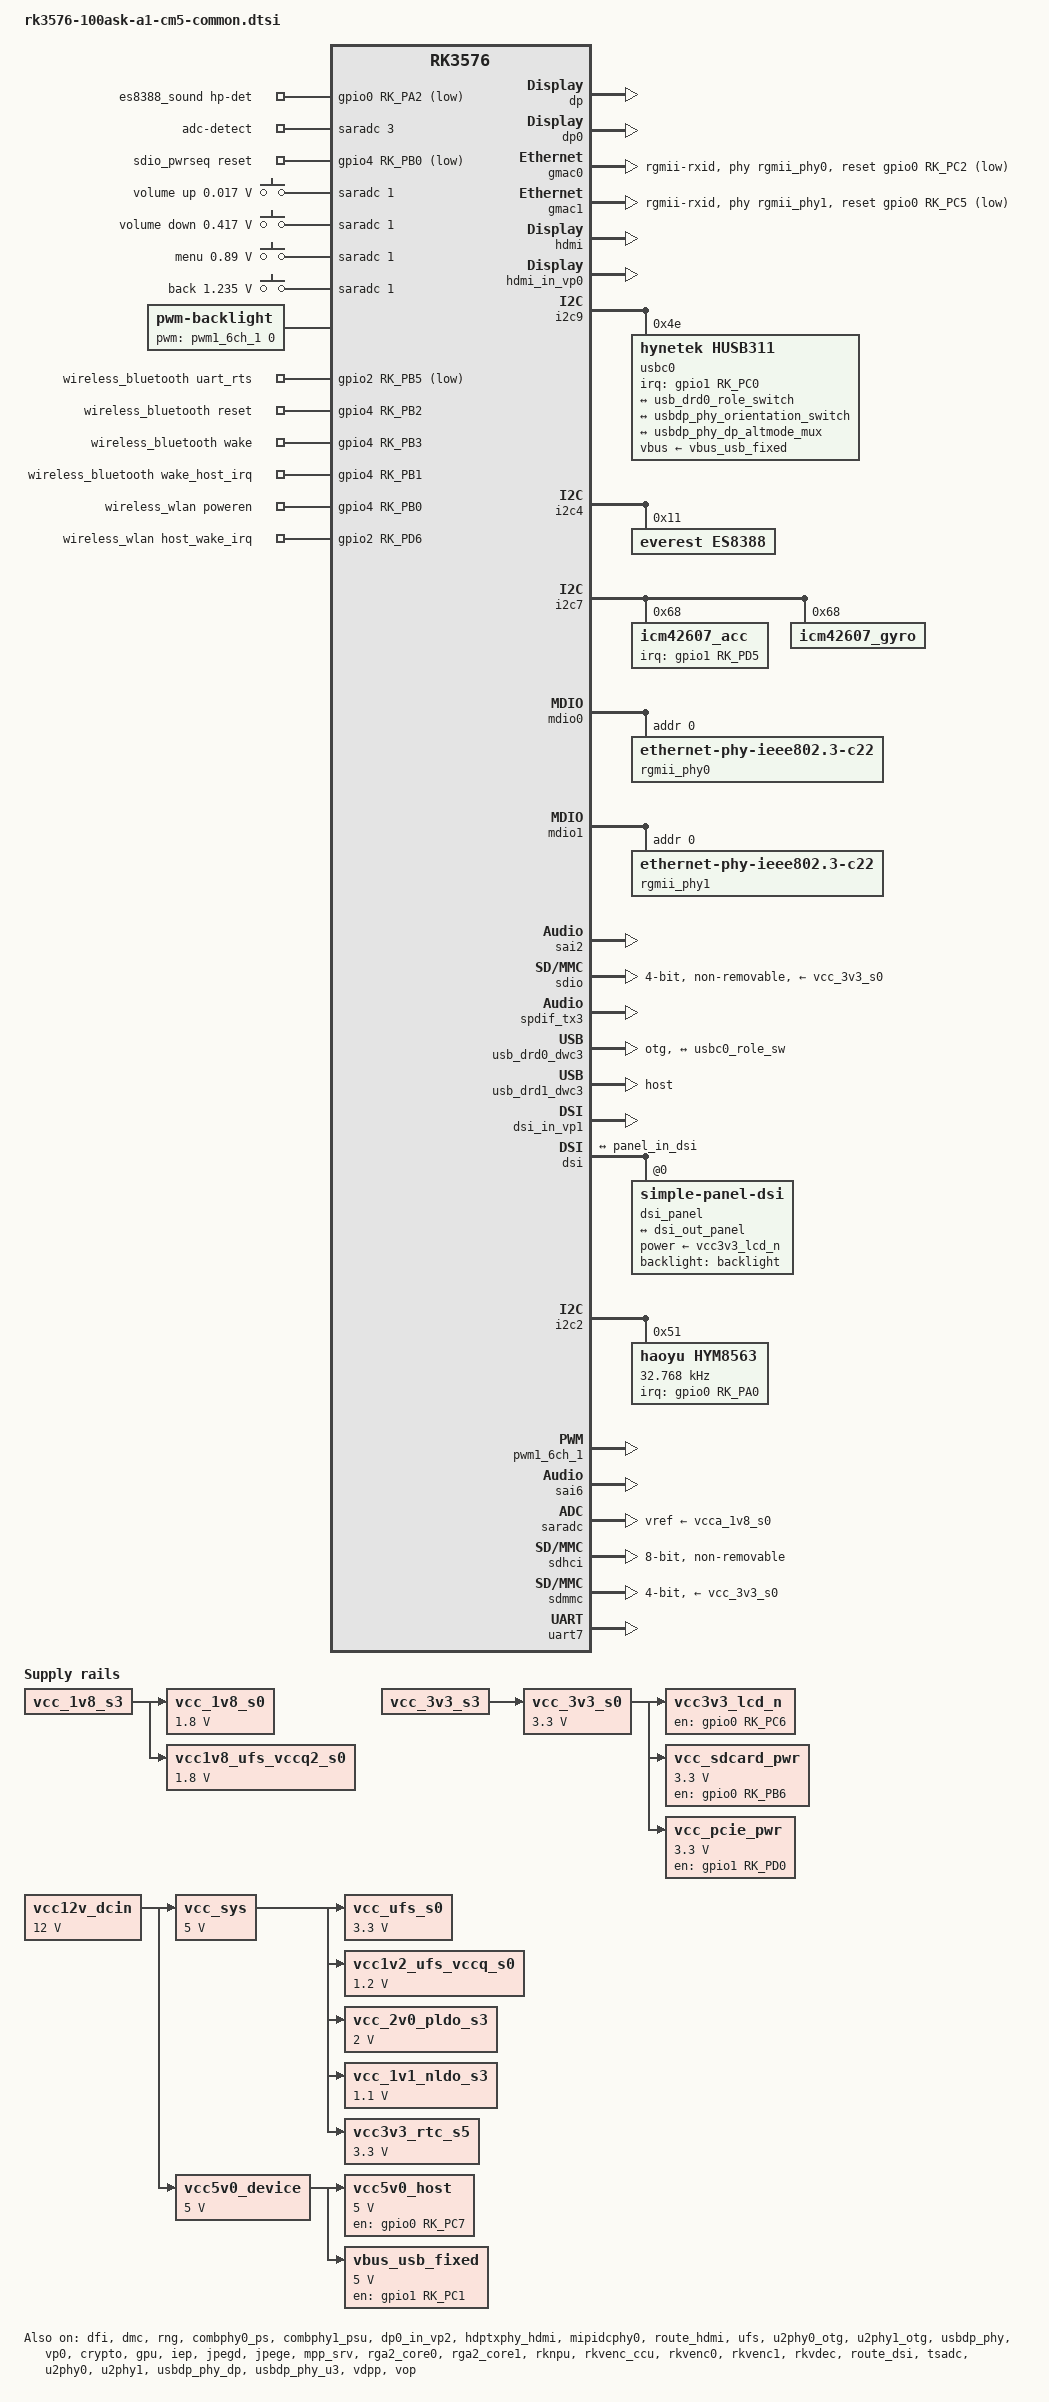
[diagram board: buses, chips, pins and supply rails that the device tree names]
// SPDX-License-Identifier: (GPL-2.0+ OR MIT)
/*
 * Copyright (c) 2024 Rockchip Electronics Co., Ltd.
 *
 */

#include <dt-bindings/gpio/gpio.h>
#include <dt-bindings/pwm/pwm.h>
#include <dt-bindings/pinctrl/rockchip.h>
#include <dt-bindings/input/rk-input.h>
#include <dt-bindings/display/drm_mipi_dsi.h>
#include <dt-bindings/display/rockchip_vop.h>
#include <dt-bindings/sensor-dev.h>
#include <dt-bindings/usb/pd.h>
#include "rk3576-rk806.dtsi"

/ {
	chosen: chosen {
		bootargs = "earlycon=uart8250,mmio32,0x2ad40000 console=ttyFIQ0 root=PARTUUID=614e0000-0000 rw rootwait rcupdate.rcu_expedited=1 rcu_nocbs=all";
	};

	fiq_debugger: fiq-debugger {
		compatible = "rockchip,fiq-debugger";
		rockchip,serial-id = <0>;
		rockchip,wake-irq = <0>;
		/* If enable uart uses irq instead of fiq */
		rockchip,irq-mode-enable = <1>;
		rockchip,baudrate = <1500000>;  /* Only 115200 and 1500000 */
		interrupts = <GIC_SPI 389 IRQ_TYPE_LEVEL_LOW>;
		pinctrl-names = "default";
		pinctrl-0 = <&uart0m0_xfer>;
		status = "okay";
	};

	firmware {
		optee: optee {
			compatible = "linaro,optee-tz";
			method = "smc";
		};
	};

	reserved-memory {
		#address-cells = <2>;
		#size-cells = <2>;
		ranges;

		drm_logo: drm-logo@0 {
			compatible = "rockchip,drm-logo";
			reg = <0x0 0x0 0x0 0x0>;
		};

		drm_cubic_lut: drm-cubic-lut@0 {
			compatible = "rockchip,drm-cubic-lut";
			reg = <0x0 0x0 0x0 0x0>;
		};

		ramoops: ramoops@40110000 {
			compatible = "ramoops";
			/* 0x40110000 to 0x401f0000 is for ramoops */
			reg = <0x0 0x40110000 0x0 0xe0000>;
			boot-log-size = <0x8000>;	/* do not change */
			boot-log-count = <0x1>;		/* do not change */
			console-size = <0x80000>;
			pmsg-size = <0x30000>;
			ftrace-size = <0x00000>;
			record-size = <0x14000>;
		};
	};

	es8388_sound: es8388-sound {
		status = "okay";
		compatible = "rockchip,multicodecs-card";
		rockchip,card-name = "rockchip-es8388";
		hp-det-gpio = <&gpio0 RK_PA2 GPIO_ACTIVE_LOW>;
		io-channels = <&saradc 3>;
		io-channel-names = "adc-detect";
		keyup-threshold-microvolt = <1800000>;
		poll-interval = <100>;
		rockchip,pre-power-on-delay-ms = <30>;
		rockchip,post-power-down-delay-ms = <40>;
		rockchip,format = "i2s";
		rockchip,mclk-fs = <256>;
		rockchip,cpu = <&sai2>;
		rockchip,codec = <&es8388>;
		rockchip,audio-routing =
			"Headphone", "LOUT1",
			"Headphone", "ROUT1",
			"Speaker", "LOUT2",
			"Speaker", "ROUT2",
			"Headphone", "Headphone Power",
			"Headphone", "Headphone Power",
			"Speaker", "Speaker Power",
			"Speaker", "Speaker Power",
			"LINPUT1", "Main Mic",
			"RINPUT1", "Main Mic",
			//"LINPUT1", "Headset Mic",
                        //"RINPUT1", "Headset Mic",
			//"LINPUT2", "Headset Mic",
			//"RINPUT2", "Headset Mic",
			"LINPUT2", "Main Mic",
                        "RINPUT2", "Main Mic";
		pinctrl-names = "default";
		pinctrl-0 = <&hp_det>;
		play-pause-key {
			label = "playpause";
			linux,code = <KEY_PLAYPAUSE>;
			press-threshold-microvolt = <2000>;
		};
	};

	pdmics: dummy-codec {
		status = "disabled";
		compatible = "rockchip,dummy-codec";
		#sound-dai-cells = <0>;
	};

	pdm_mic_array: pdm-mic-array {
		status = "disabled";
		compatible = "simple-audio-card";
		simple-audio-card,name = "rockchip,pdm-mic-array";
		simple-audio-card,cpu {
			sound-dai = <&pdm1>;
		};
		simple-audio-card,codec {
			sound-dai = <&pdmics>;
		};
	};

	sdio_pwrseq: sdio-pwrseq {
		compatible = "mmc-pwrseq-simple";
		clocks = <&rk806 1>;
		clock-names = "ext_clock";
		pinctrl-names = "default";
		pinctrl-0 = <&wifi_poweren_gpio>;

		/*
		 * On the module itself this is one of these (depending
		 * on the actual card populated):
		 * - SDIO_RESET_L_WL_REG_ON
		 * - PDN (power down when low)
		 */
		post-power-on-delay-ms = <200>;
		reset-gpios = <&gpio4 RK_PB0 GPIO_ACTIVE_LOW>;
		status = "okay";
	};

	vcc_1v8_s0: vcc-1v8-s0 {
		compatible = "regulator-fixed";
		regulator-name = "vcc_1v8_s0";
		regulator-boot-on;
		regulator-always-on;
		regulator-min-microvolt = <1800000>;
		regulator-max-microvolt = <1800000>;
		vin-supply = <&vcc_1v8_s3>;
	};

	vcc_3v3_s0: vcc-3v3-s0 {
		compatible = "regulator-fixed";
		regulator-name = "vcc_3v3_s0";
		regulator-boot-on;
		regulator-always-on;
		regulator-min-microvolt = <3300000>;
		regulator-max-microvolt = <3300000>;
		vin-supply = <&vcc_3v3_s3>;
	};

	vcc_ufs_s0: vcc-ufs-s0 {
		compatible = "regulator-fixed";
		regulator-name = "vcc_ufs_s0";
		regulator-boot-on;
		regulator-always-on;
		regulator-min-microvolt = <3300000>;
		regulator-max-microvolt = <3300000>;
		vin-supply = <&vcc_sys>;
	};

	vcc1v8_ufs_vccq2_s0: vcc1v8-ufs-vccq2-s0 {
		compatible = "regulator-fixed";
		regulator-name = "vcc1v8_ufs_vccq2_s0";
		regulator-boot-on;
		regulator-always-on;
		regulator-min-microvolt = <1800000>;
		regulator-max-microvolt = <1800000>;
		vin-supply = <&vcc_1v8_s3>;
	};

	vcc1v2_ufs_vccq_s0: vcc1v2-ufs-vccq-s0 {
		compatible = "regulator-fixed";
		regulator-name = "vcc1v2_ufs_vccq_s0";
		regulator-boot-on;
		regulator-always-on;
		regulator-min-microvolt = <1200000>;
		regulator-max-microvolt = <1200000>;
		vin-supply = <&vcc_sys>;
	};

	vcc3v3_lcd_n: vcc3v3-lcd0-n {
		compatible = "regulator-fixed";
		regulator-name = "vcc3v3_lcd0_n";
		regulator-boot-on;
		enable-active-high;
		gpio = <&gpio0 RK_PC6 GPIO_ACTIVE_HIGH>;
		vin-supply = <&vcc_3v3_s0>;
	};
	vcc_sdcard_pwr: vcc-sdcard-pwr {
		compatible = "regulator-fixed";
		regulator-name = "vcc_sdcard_pwr";
		enable-active-high;
		regulator-min-microvolt = <3300000>;
        regulator-max-microvolt = <3300000>;
		gpio = <&gpio0 RK_PB6 GPIO_ACTIVE_HIGH>;
		vin-supply = <&vcc_3v3_s0>;
		regulator-always-on;
	};
	vcc_pcie_pwr: vcc-pcie-pwr {
		compatible = "regulator-fixed";
		regulator-name = "vcc_pcie_pwr";
		enable-active-high;
		regulator-min-microvolt = <3300000>;
        regulator-max-microvolt = <3300000>;
		gpio = <&gpio1 RK_PD0 GPIO_ACTIVE_HIGH>;
		vin-supply = <&vcc_3v3_s0>;
		regulator-always-on;
	};

	vcc5v0_host: vcc5v0-host {
		compatible = "regulator-fixed";
		regulator-name = "vcc5v0_host";
		regulator-boot-on;
		regulator-always-on;
		regulator-min-microvolt = <5000000>;
		regulator-max-microvolt = <5000000>;
		enable-active-high;
		gpio = <&gpio0 RK_PC7 GPIO_ACTIVE_HIGH>;
		vin-supply = <&vcc5v0_device>;
		pinctrl-names = "default";
		pinctrl-0 = <&usb_host_pwren>;
	};
	/*
	vbus5v0_typec: vbus5v0-typec {
		compatible = "regulator-fixed";
		regulator-name = "vbus5v0_typec";
		regulator-min-microvolt = <5000000>;
		regulator-max-microvolt = <5000000>;
		enable-active-high;
		gpio = <&gpio1 RK_PC1 GPIO_ACTIVE_HIGH>;
		vin-supply = <&vcc5v0_device>;
		pinctrl-names = "default";
		pinctrl-0 = <&usb_otg0_pwren>;
	};
	*/
	vbus_usb_fixed: vbus-usb-fixed {
        compatible = "regulator-fixed";
        regulator-name = "vbus_usb_fixed";
        regulator-min-microvolt = <5000000>;
        regulator-max-microvolt = <5000000>;
        enable-active-high;
        gpio = <&gpio1 RK_PC1 GPIO_ACTIVE_HIGH>;
		vin-supply = <&vcc5v0_device>;
		pinctrl-names = "default";
		pinctrl-0 = <&usb_otg0_pwren>;
    };
/*
	vcc_mipicsi0: vcc-mipicsi0-regulator {
		compatible = "regulator-fixed";
		gpio = <&gpio3 RK_PB0 GPIO_ACTIVE_HIGH>;
		pinctrl-names = "default";
		pinctrl-0 = <&mipicsi0_pwr>;
		regulator-name = "vcc_mipicsi0";
		enable-active-high;
	};

	vcc_mipicsi1: vcc-mipicsi1-regulator {
		compatible = "regulator-fixed";
		gpio = <&gpio3 RK_PC5 GPIO_ACTIVE_HIGH>;
		pinctrl-names = "default";
		pinctrl-0 = <&mipicsi1_pwr>;
		regulator-name = "vcc_mipicsi1";
		enable-active-high;
	};

	vcc_mipidcphy0: vcc-mipidcphy0-regulator {
		compatible = "regulator-fixed";
		gpio = <&gpio3 RK_PC6 GPIO_ACTIVE_HIGH>;
		pinctrl-names = "default";
		pinctrl-0 = <&mipidcphy0_pwr>;
		regulator-name = "vcc_mipidcphy0";
		enable-active-high;
	};
*/
	adc_keys: adc-keys {
		compatible = "adc-keys";
		io-channels = <&saradc 1>;
		io-channel-names = "buttons";
		keyup-threshold-microvolt = <1800000>;
		poll-interval = <100>;

		vol-up-key {
			label = "volume up";
			linux,code = <KEY_VOLUMEUP>;
			press-threshold-microvolt = <17000>;
		};

		vol-down-key {
			label = "volume down";
			linux,code = <KEY_VOLUMEDOWN>;
			press-threshold-microvolt = <417000>;
		};

		menu-key {
			label = "menu";
			linux,code = <KEY_MENU>;
			press-threshold-microvolt = <890000>;
		};

		back-key {
			label = "back";
			linux,code = <KEY_BACK>;
			press-threshold-microvolt = <1235000>;
		};
	};

	backlight: backlight {
		compatible = "pwm-backlight";
		pwms = <&pwm1_6ch_1 0 25000 0>;
		brightness-levels = <
			  0  20  20  21  21  22  22  23
			 23  24  24  25  25  26  26  27
			 27  28  28  29  29  30  30  31
			 31  32  32  33  33  34  34  35
			 35  36  36  37  37  38  38  39
			 40  41  42  43  44  45  46  47
			 48  49  50  51  52  53  54  55
			 56  57  58  59  60  61  62  63
			 64  65  66  67  68  69  70  71
			 72  73  74  75  76  77  78  79
			 80  81  82  83  84  85  86  87
			 88  89  90  91  92  93  94  95
			 96  97  98  99 100 101 102 103
			104 105 106 107 108 109 110 111
			112 113 114 115 116 117 118 119
			120 121 122 123 124 125 126 127
			128 129 130 131 132 133 134 135
			136 137 138 139 140 141 142 143
			144 145 146 147 148 149 150 151
			152 153 154 155 156 157 158 159
			160 161 162 163 164 165 166 167
			168 169 170 171 172 173 174 175
			176 177 178 179 180 181 182 183
			184 185 186 187 188 189 190 191
			192 193 194 195 196 197 198 199
			200 201 202 203 204 205 206 207
			208 209 210 211 212 213 214 215
			216 217 218 219 220 221 222 223
			224 225 226 227 228 229 230 231
			232 233 234 235 236 237 238 239
			240 241 242 243 244 245 246 247
			248 249 250 251 252 253 254 255
		>;
		default-brightness-level = <200>;
	};

	dp0_sound: dp0-sound {
		status = "okay";
		compatible = "rockchip,hdmi";
		rockchip,mclk-fs = <512>;
		rockchip,card-name = "rockchip-dp0";
		rockchip,cpu = <&spdif_tx3>;
		rockchip,codec = <&dp0 1>;
		rockchip,jack-det;
	};

	dp1_sound: dp1-sound {
		status = "disabled";
		compatible = "rockchip,hdmi";
		rockchip,mclk-fs = <512>;
		rockchip,card-name = "rockchip-dp1";
		rockchip,cpu = <&spdif_tx3>;
		rockchip,codec = <&dp1 1>;
		rockchip,jack-det;
	};

	dp2_sound: dp2-sound {
		status = "disabled";
		compatible = "rockchip,hdmi";
		rockchip,mclk-fs = <512>;
		rockchip,card-name = "rockchip-dp2";
		rockchip,cpu = <&spdif_tx3>;
		rockchip,codec = <&dp2 1>;
		rockchip,jack-det;
	};

	edp_sound: edp-sound {
		status = "disabled";
		compatible = "rockchip,hdmi";
		rockchip,mclk-fs = <128>;
		rockchip,card-name = "rockchip-edp";
		rockchip,cpu = <&sai6>;
		rockchip,codec = <&edp 0>;
	};

	hdmi_sound: hdmi-sound {
		compatible = "rockchip,hdmi";
		rockchip,mclk-fs = <128>;
		rockchip,card-name = "rockchip-hdmi";
		rockchip,cpu = <&sai6>;
		rockchip,codec = <&hdmi>;
		rockchip,jack-det;
	};

	test-power {
		status = "okay";
	};

	vcc12v_dcin: vcc12v-dcin {
		compatible = "regulator-fixed";
		regulator-name = "vcc12v_dcin";
		regulator-always-on;
		regulator-boot-on;
		regulator-min-microvolt = <12000000>;
		regulator-max-microvolt = <12000000>;
	};

	vcc_sys: vcc5v0-sys {
		compatible = "regulator-fixed";
		regulator-name = "vcc_sys";
		regulator-always-on;
		regulator-boot-on;
		regulator-min-microvolt = <5000000>;
		regulator-max-microvolt = <5000000>;
		vin-supply = <&vcc12v_dcin>;
	};

	vcc5v0_device: vcc5v0-device {
		compatible = "regulator-fixed";
		regulator-name = "vcc5v0_device";
		regulator-always-on;
		regulator-boot-on;
		regulator-min-microvolt = <5000000>;
		regulator-max-microvolt = <5000000>;
		vin-supply = <&vcc12v_dcin>;
	};

	vcc_2v0_pldo_s3: vcc-2v0-pldo-s3 {
		compatible = "regulator-fixed";
		regulator-name = "vcc_2v0_pldo_s3";
		regulator-boot-on;
		regulator-always-on;
		regulator-min-microvolt = <2000000>;
		regulator-max-microvolt = <2000000>;
		vin-supply = <&vcc_sys>;
	};

	vcc_1v1_nldo_s3: vcc-1v1-nldo-s3 {
		compatible = "regulator-fixed";
		regulator-name = "vcc_1v1_nldo_s3";
		regulator-boot-on;
		regulator-always-on;
		regulator-min-microvolt = <1100000>;
		regulator-max-microvolt = <1100000>;
		vin-supply = <&vcc_sys>;
	};

	vcc3v3_rtc_s5: vcc3v3-rtc-s5 {
		compatible = "regulator-fixed";
		regulator-name = "vcc3v3_rtc_s5";
		regulator-boot-on;
		regulator-always-on;
		regulator-min-microvolt = <3300000>;
		regulator-max-microvolt = <3300000>;
		vin-supply = <&vcc_sys>;
	};

	wireless_bluetooth: wireless-bluetooth {
		compatible = "bluetooth-platdata";
		uart_rts_gpios = <&gpio2 RK_PB5 GPIO_ACTIVE_LOW>;
		pinctrl-names = "default", "rts_gpio";
		pinctrl-0 = <&uart7m0_rtsn>;
		pinctrl-1 = <&uart7_gpios>;
		BT,reset_gpio    = <&gpio4 RK_PB2 GPIO_ACTIVE_HIGH>;
		BT,wake_gpio     = <&gpio4 RK_PB3 GPIO_ACTIVE_HIGH>;
		BT,wake_host_irq = <&gpio4 RK_PB1 GPIO_ACTIVE_HIGH>;
		status = "okay";
	};

	wireless_wlan:wireless-wlan {
		compatible = "wlan-platdata";
		wifi_chip_type = "aic8800";
		rockchip,grf = <&sys_grf>;
		WIFI,poweren_gpio = <&gpio4 RK_PB0 GPIO_ACTIVE_HIGH>;
		pinctrl-names = "default";
		pinctrl-0 = <&wifi_host_wake_irq>;
		WIFI,host_wake_irq = <&gpio2 RK_PD6 GPIO_ACTIVE_HIGH>;
		status = "okay";
	};
};

&dfi {
	status = "okay";
};

&display_subsystem {
	clocks = <&hdptxphy_hdmi>;
	clock-names = "hdmi0_phy_pll";
	memory-region = <&drm_logo>, <&drm_cubic_lut>;
	memory-region-names = "drm-logo", "drm-cubic-lut";
	/* devfreq = <&dmc>; */
};

&dmc {
	status = "okay";
	center-supply = <&vdd_ddr_s0>;
	mem-supply = <&vdd_logic_s0>;
};

&rng {
	status = "okay";
};

&combphy0_ps {
	status = "okay";
};

&combphy1_psu {
	status = "okay";
};

&dp {
	status = "okay";
	svid = <0xff01>;
};

&dp0 {
	status = "okay";
};

&dp0_in_vp2 {
	status = "okay";
};

&gmac0 {
	/* Use rgmii-rxid mode to disable rx delay inside Soc */
	phy-mode = "rgmii-rxid";
	clock_in_out = "output";

	snps,reset-gpio = <&gpio0 RK_PC2 GPIO_ACTIVE_LOW>;
	snps,reset-active-low;
	/* Reset time is 20ms, 100ms for rtl8211f */
	snps,reset-delays-us = <0 20000 100000>;

	pinctrl-names = "default";
	pinctrl-0 = <&eth0m0_miim
		     &eth0m0_tx_bus2
		     &eth0m0_rx_bus2
		     &eth0m0_rgmii_clk
		     &eth0m0_rgmii_bus>;

	tx_delay = <0x1b>;
	/* rx_delay = <0x3f>; */

	phy-handle = <&rgmii_phy0>;
	status = "okay";
};

&gmac1 {
	/* Use rgmii-rxid mode to disable rx delay inside Soc */
	phy-mode = "rgmii-rxid";
	clock_in_out = "output";

	snps,reset-gpio = <&gpio0 RK_PC5 GPIO_ACTIVE_LOW>;
	snps,reset-active-low;
	/* Reset time is 20ms, 100ms for rtl8211f */
	snps,reset-delays-us = <0 20000 100000>;

	pinctrl-names = "default";
	pinctrl-0 = <&eth1m0_miim
		     &eth1m0_tx_bus2
		     &eth1m0_rx_bus2
		     &eth1m0_rgmii_clk
		     &eth1m0_rgmii_bus>;

	tx_delay = <0x1a>;
	/* rx_delay = <0x3f>; */

	phy-handle = <&rgmii_phy1>;
	status = "okay";
};

&hdmi {
	status = "okay";
	enable-gpios = <&gpio2 RK_PB0 GPIO_ACTIVE_HIGH>;
	rockchip,sda-falling-delay-ns = <360>;
};

&hdmi_in_vp0 {
	status = "okay";
};

&hdptxphy_hdmi {
	status = "okay";
};

&i2c9 {
	status = "okay";
	pinctrl-names = "default";
	pinctrl-0 = <&i2c9m1_xfer>;

	usbc0: husb311@4e {
		compatible = "hynetek,husb311";
		reg = <0x4e>;
		interrupt-parent = <&gpio1>;
		interrupts = <RK_PC0 IRQ_TYPE_LEVEL_LOW>;
		pinctrl-names = "default";
		pinctrl-0 = <&usbc0_int>;
		vbus-supply = <&vbus_usb_fixed>;
		status = "okay";

		port {
			usbc0_role_sw: endpoint {
				remote-endpoint = <&usb_drd0_role_switch>;
			};
		};

		usb_con: connector {
			compatible = "usb-c-connector";
			label = "USB-C";
			data-role = "dual";
			power-role = "dual";
			try-power-role = "sink";
			op-sink-microwatt = <1000000>;
			sink-pdos =
				<PDO_FIXED(5000, 1000, PDO_FIXED_USB_COMM)>;
			source-pdos =
				<PDO_FIXED(5000, 3000, PDO_FIXED_USB_COMM)>;
			mode-switch = <&dp>;

			altmodes {
				#address-cells = <1>;
				#size-cells = <0>;

				altmode@0 {
					reg = <0>;
					svid = <0xff01>;
					vdo = <0xffffffff>;
				};
			};

			ports {
				#address-cells = <1>;
				#size-cells = <0>;

				port@0 {
					reg = <0>;
					usbc0_orien_sw: endpoint {
						remote-endpoint = <&usbdp_phy_orientation_switch>;
					};
				};

				port@1 {
					reg = <1>;
					dp_altmode_mux: endpoint {
						remote-endpoint = <&usbdp_phy_dp_altmode_mux>;
					};
				};
			};
		};
	};
};


&i2c4 {
	status = "okay";
	pinctrl-names = "default";
        pinctrl-0 = <&i2c4m0_xfer>;

	es8388: es8388@11 {
		status = "okay";
		#sound-dai-cells = <0>;
		compatible = "everest,es8388", "everest,es8323";
		reg = <0x11>;
		clocks = <&mclkout_sai2>;
		clock-names = "mclk";
		assigned-clocks = <&mclkout_sai2>;
		assigned-clock-rates = <12288000>;
		pinctrl-names = "default";
		pinctrl-0 = <&sai2m0_mclk>;
	};
};


&i2c7 {
	status = "okay";
	pinctrl-names = "default";
	pinctrl-0 = <&i2c7m1_xfer>;


	icm42607_acc: icm_acc@68 {
		status = "okay";
		compatible = "icm42607_acc";
		reg = <0x68>;
		irq-gpio = <&gpio1 RK_PD5 IRQ_TYPE_EDGE_RISING>;
		irq_enable = <0>;
		poll_delay_ms = <30>;
		type = <SENSOR_TYPE_ACCEL>;
		layout = <4>;
	};

	icm42607_gyro: icm_gyro@68 {
		status = "okay";
		compatible = "icm42607_gyro";
		reg = <0x68>;
		poll_delay_ms = <30>;
		type = <SENSOR_TYPE_GYROSCOPE>;
		layout = <4>;
	};
};

&mdio0 {
	rgmii_phy0: phy@1 {
		compatible = "ethernet-phy-ieee802.3-c22";
		reg = <0x0>;
	};
};

&mdio1 {
	rgmii_phy1: phy@1 {
		compatible = "ethernet-phy-ieee802.3-c22";
		reg = <0x0>;
	};
};

&mipidcphy0 {
	status = "okay";
};

&pdm1 {
	status = "disabled";
	pinctrl-names = "default";
	pinctrl-0 = <&pdm1m1_clk0
		     &pdm1m1_clk1
		     &pdm1m1_sdi0
		     &pdm1m1_sdi1
		     &pdm1m1_sdi2
		     &pdm1m1_sdi3>;
};

&pinctrl {
	cam {
		mipicsi0_pwr: mipicsi0-pwr {
			rockchip,pins =
				/* camera power en */
				<3 RK_PB0 RK_FUNC_GPIO &pcfg_pull_none>;
		};

		mipicsi1_pwr: mipicsi1-pwr {
			rockchip,pins =
				/* camera power en */
				<3 RK_PC5 RK_FUNC_GPIO &pcfg_pull_none>;
		};

		mipidcphy0_pwr: mipidcphy0-pwr {
			rockchip,pins =
				/* camera power en */
				<3 RK_PC6 RK_FUNC_GPIO &pcfg_pull_none>;
		};
	};

	headphone {
		hp_det: hp-det {
			rockchip,pins = <0 RK_PA2 RK_FUNC_GPIO &pcfg_pull_up>;
		};
	};

	usb {
		usb_host_pwren: usb-host-pwren {
			rockchip,pins = <0 RK_PC7 RK_FUNC_GPIO &pcfg_pull_none>;
		};

		usb_otg0_pwren: usb-otg0-pwren {
			rockchip,pins = <1 RK_PC1 RK_FUNC_GPIO &pcfg_pull_none>;
		};

		usbc0_int: usbc0-int {
			rockchip,pins = <1 RK_PC0 RK_FUNC_GPIO &pcfg_pull_up>;
		};
	};

	bluetooth {
		uart7_gpios: uart7-gpios {
			rockchip,pins = <2 RK_PB5 RK_FUNC_GPIO &pcfg_pull_none>;
		};
	};

	wlan {
		wifi_host_wake_irq: wifi-host-wake-irq {
			rockchip,pins = <2 RK_PD6 RK_FUNC_GPIO &pcfg_pull_down>;
		};

		wifi_poweren_gpio: wifi-poweren-gpio {
			rockchip,pins = <4 RK_PB0 RK_FUNC_GPIO &pcfg_pull_down>;
		};
	};

	hym8563 {
		hym8563_int: hym8563-int {
			rockchip,pins = <0 RK_PA0 RK_FUNC_GPIO &pcfg_pull_up>;
		};
	};

	touch {
		touch_gpio: touch-gpio {
			rockchip,pins =
				<0 RK_PD0 RK_FUNC_GPIO &pcfg_pull_up>,
				<0 RK_PC5 RK_FUNC_GPIO &pcfg_pull_up>;
		};
	};
};

&route_hdmi {
	status = "okay";
	connect = <&vp0_out_hdmi>;
};

&sai2 {
	status = "okay";
	pinctrl-names = "default";
	pinctrl-0 = <&sai2m0_lrck
		     &sai2m0_sclk
		     &sai2m0_sdi
		     &sai2m0_sdo>;
};

&sdio {
	max-frequency = <25000000>;
	supports-sdio;
	bus-width = <4>;
	cap-sd-highspeed;
	disable-wp;
	no-sd;
	no-mmc;
	non-removable;
	cap-sdio-irq;
	keep-power-in-suspend;
	mmc-pwrseq = <&sdio_pwrseq>;
	pinctrl-names = "default";
	//pinctrl-0 = <&sdmmc1m0_bus4 &sdmmc1m0_clk &sdmmc1m0_cmd>;
	pinctrl-0 = <&sdmmc1m1_bus4 &sdmmc1m1_clk &sdmmc1m1_cmd>;
	vqmmc-supply = <&vcc_3v3_s0>;
	vmmc-supply = <&vcc_3v3_s0>;
	status = "okay";
};

&spdif_tx3 {
	status = "okay";
};

&ufs {
	status = "okay";
};

&u2phy0_otg {
	rockchip,typec-vbus-det;
};

&u2phy1_otg {
	phy-supply = <&vcc5v0_host>;
};

&usbdp_phy {
	orientation-switch;
	svid = <0xff01>;
	sbu1-dc-gpios = <&gpio2 RK_PA6 GPIO_ACTIVE_HIGH>;
	sbu2-dc-gpios = <&gpio2 RK_PA7 GPIO_ACTIVE_HIGH>;

	port {
		#address-cells = <1>;
		#size-cells = <0>;

		usbdp_phy_orientation_switch: endpoint@0 {
			reg = <0>;
			remote-endpoint = <&usbc0_orien_sw>;
		};

		usbdp_phy_dp_altmode_mux: endpoint@1 {
			reg = <1>;
			remote-endpoint = <&dp_altmode_mux>;
		};
	};
};

&usb_drd0_dwc3 {
	dr_mode = "otg";
	usb-role-switch;
	port {
		usb_drd0_role_switch: endpoint {
			remote-endpoint = <&usbc0_role_sw>;
		};
	};
};

&usb_drd1_dwc3 {
	dr_mode = "host";
	status = "okay";
};

&vp0 {
	status = "okay";
};

&cpu_l0 {
	cpu-supply = <&vdd_cpu_lit_s0>;
};

&cpu_b0 {
	cpu-supply = <&vdd_cpu_big_s0>;
};

&crypto {
	status = "okay";
};

&dsi_in_vp0 {
	status = "disabled";
};

&dsi_in_vp1 {
	status = "okay";
};

&dsi_in_vp2 {
	status = "disabled";
};

&dsi_in_vopl {
	status = "disabled";
};

&dsi {
	status = "okay";
	//rockchip,lane-rate = <1000>;
	dsi_panel: panel@0 {
		status = "okay";
		compatible = "simple-panel-dsi";
		power-supply = <&vcc3v3_lcd_n>;
		reg = <0>;
		backlight = <&backlight>;
		reset-delay-ms = <60>;
		enable-delay-ms = <60>;
		prepare-delay-ms = <60>;
		unprepare-delay-ms = <60>;
		disable-delay-ms = <60>;
		width-mm = <68>;
		height-mm = <121>;
		dsi,flags = <(MIPI_DSI_MODE_VIDEO | MIPI_DSI_MODE_VIDEO_BURST |
			MIPI_DSI_MODE_LPM | MIPI_DSI_MODE_NO_EOT_PACKET)>;
		dsi,format = <MIPI_DSI_FMT_RGB888>;
		dsi,lanes  = <4>;
		panel-init-sequence = [
			23 00 02 FE 21
			23 00 02 04 00
			23 00 02 00 64
			23 00 02 2A 00
			23 00 02 26 64
			23 00 02 54 00
			23 00 02 50 64
			23 00 02 7B 00
			23 00 02 77 64
			23 00 02 A2 00
			23 00 02 9D 64
			23 00 02 C9 00
			23 00 02 C5 64
			23 00 02 01 71
			23 00 02 27 71
			23 00 02 51 71
			23 00 02 78 71
			23 00 02 9E 71
			23 00 02 C6 71
			23 00 02 02 89
			23 00 02 28 89
			23 00 02 52 89
			23 00 02 79 89
			23 00 02 9F 89
			23 00 02 C7 89
			23 00 02 03 9E
			23 00 02 29 9E
			23 00 02 53 9E
			23 00 02 7A 9E
			23 00 02 A0 9E
			23 00 02 C8 9E
			23 00 02 09 00
			23 00 02 05 B0
			23 00 02 31 00
			23 00 02 2B B0
			23 00 02 5A 00
			23 00 02 55 B0
			23 00 02 80 00
			23 00 02 7C B0
			23 00 02 A7 00
			23 00 02 A3 B0
			23 00 02 CE 00
			23 00 02 CA B0
			23 00 02 06 C0
			23 00 02 2D C0
			23 00 02 56 C0
			23 00 02 7D C0
			23 00 02 A4 C0
			23 00 02 CB C0
			23 00 02 07 CF
			23 00 02 2F CF
			23 00 02 58 CF
			23 00 02 7E CF
			23 00 02 A5 CF
			23 00 02 CC CF
			23 00 02 08 DD
			23 00 02 30 DD
			23 00 02 59 DD
			23 00 02 7F DD
			23 00 02 A6 DD
			23 00 02 CD DD
			23 00 02 0E 15
			23 00 02 0A E9
			23 00 02 36 15
			23 00 02 32 E9
			23 00 02 5F 15
			23 00 02 5B E9
			23 00 02 85 15
			23 00 02 81 E9
			23 00 02 AD 15
			23 00 02 A9 E9
			23 00 02 D3 15
			23 00 02 CF E9
			23 00 02 0B 14
			23 00 02 33 14
			23 00 02 5C 14
			23 00 02 82 14
			23 00 02 AA 14
			23 00 02 D0 14
			23 00 02 0C 36
			23 00 02 34 36
			23 00 02 5D 36
			23 00 02 83 36
			23 00 02 AB 36
			23 00 02 D1 36
			23 00 02 0D 6B
			23 00 02 35 6B
			23 00 02 5E 6B
			23 00 02 84 6B
			23 00 02 AC 6B
			23 00 02 D2 6B
			23 00 02 13 5A
			23 00 02 0F 94
			23 00 02 3B 5A
			23 00 02 37 94
			23 00 02 64 5A
			23 00 02 60 94
			23 00 02 8A 5A
			23 00 02 86 94
			23 00 02 B2 5A
			23 00 02 AE 94
			23 00 02 D8 5A
			23 00 02 D4 94
			23 00 02 10 D1
			23 00 02 38 D1
			23 00 02 61 D1
			23 00 02 87 D1
			23 00 02 AF D1
			23 00 02 D5 D1
			23 00 02 11 04
			23 00 02 39 04
			23 00 02 62 04
			23 00 02 88 04
			23 00 02 B0 04
			23 00 02 D6 04
			23 00 02 12 05
			23 00 02 3A 05
			23 00 02 63 05
			23 00 02 89 05
			23 00 02 B1 05
			23 00 02 D7 05
			23 00 02 18 AA
			23 00 02 14 36
			23 00 02 42 AA
			23 00 02 3D 36
			23 00 02 69 AA
			23 00 02 65 36
			23 00 02 8F AA
			23 00 02 8B 36
			23 00 02 B7 AA
			23 00 02 B3 36
			23 00 02 DD AA
			23 00 02 D9 36
			23 00 02 15 74
			23 00 02 3F 74
			23 00 02 66 74
			23 00 02 8C 74
			23 00 02 B4 74
			23 00 02 DA 74
			23 00 02 16 9F
			23 00 02 40 9F
			23 00 02 67 9F
			23 00 02 8D 9F
			23 00 02 B5 9F
			23 00 02 DB 9F
			23 00 02 17 DC
			23 00 02 41 DC
			23 00 02 68 DC
			23 00 02 8E DC
			23 00 02 B6 DC
			23 00 02 DC DC
			23 00 02 1D FF
			23 00 02 19 03
			23 00 02 47 FF
			23 00 02 43 03
			23 00 02 6E FF
			23 00 02 6A 03
			23 00 02 94 FF
			23 00 02 90 03
			23 00 02 BC FF
			23 00 02 B8 03
			23 00 02 E2 FF
			23 00 02 DE 03
			23 00 02 1A 35
			23 00 02 44 35
			23 00 02 6B 35
			23 00 02 91 35
			23 00 02 B9 35
			23 00 02 DF 35
			23 00 02 1B 45
			23 00 02 45 45
			23 00 02 6C 45
			23 00 02 92 45
			23 00 02 BA 45
			23 00 02 E0 45
			23 00 02 1C 55
			23 00 02 46 55
			23 00 02 6D 55
			23 00 02 93 55
			23 00 02 BB 55
			23 00 02 E1 55
			23 00 02 22 FF
			23 00 02 1E 68
			23 00 02 4C FF
			23 00 02 48 68
			23 00 02 73 FF
			23 00 02 6F 68
			23 00 02 99 FF
			23 00 02 95 68
			23 00 02 C1 FF
			23 00 02 BD 68
			23 00 02 E7 FF
			23 00 02 E3 68
			23 00 02 1F 7E
			23 00 02 49 7E
			23 00 02 70 7E
			23 00 02 96 7E
			23 00 02 BE 7E
			23 00 02 E4 7E
			23 00 02 20 97
			23 00 02 4A 97
			23 00 02 71 97
			23 00 02 97 97
			23 00 02 BF 97
			23 00 02 E5 97
			23 00 02 21 B5
			23 00 02 4B B5
			23 00 02 72 B5
			23 00 02 98 B5
			23 00 02 C0 B5
			23 00 02 E6 B5
			23 00 02 25 F0
			23 00 02 23 E8
			23 00 02 4F F0
			23 00 02 4D E8
			23 00 02 76 F0
			23 00 02 74 E8
			23 00 02 9C F0
			23 00 02 9A E8
			23 00 02 C4 F0
			23 00 02 C2 E8
			23 00 02 EA F0
			23 00 02 E8 E8
			23 00 02 24 FF
			23 00 02 4E FF
			23 00 02 75 FF
			23 00 02 9B FF
			23 00 02 C3 FF
			23 00 02 E9 FF
			23 00 02 FE 3D
			23 00 02 00 04
			23 00 02 FE 23
			23 00 02 08 82
			23 00 02 0A 00
			23 00 02 0B 00
			23 00 02 0C 01
			23 00 02 16 00
			23 00 02 18 02
			23 00 02 1B 04
			23 00 02 19 04
			23 00 02 1C 81
			23 00 02 1F 00
			23 00 02 20 03
			23 00 02 23 04
			23 00 02 21 01
			23 00 02 54 63
			23 00 02 55 54
			23 00 02 6E 45
			23 00 02 6D 36
			23 00 02 FE 3D
			23 00 02 55 78
			23 00 02 FE 20
			23 00 02 26 30
			23 00 02 FE 3D
			23 00 02 20 71
			23 00 02 50 8F
			23 00 02 51 8F
			23 00 02 FE 00
			23 00 02 35 00
			05 78 01 11
			05 1E 01 29
		];

		panel-exit-sequence = [
			05 00 01 28
			05 00 01 10
		];

		disp_timings0: display-timings {
			native-mode = <&dsi_timing0>;
			dsi_timing0: timing0 {
				clock-frequency = <132000000>;
				hactive = <1080>;
				vactive = <1920>;
				hfront-porch = <15>;
				hsync-len = <2>;
				hback-porch = <30>;
				vfront-porch = <15>;
				vsync-len = <2>;
				vback-porch = <15>;
				hsync-active = <0>;
				vsync-active = <0>;
				de-active = <0>;
				pixelclk-active = <1>;
			};
		};

		ports {
			#address-cells = <1>;
			#size-cells = <0>;

			port@0 {
				reg = <0>;
				panel_in_dsi: endpoint {
					remote-endpoint = <&dsi_out_panel>;
				};
			};
		};
	};

	ports {
		#address-cells = <1>;
		#size-cells = <0>;

		port@1 {
			reg = <1>;
			dsi_out_panel: endpoint {
				remote-endpoint = <&panel_in_dsi>;
			};
		};
	};

};

&gpu {
	mali-supply = <&vdd_gpu_s0>;
	status = "okay";
};

&i2c2 {
	status = "okay";

	hym8563: hym8563@51 {
		compatible = "haoyu,hym8563";
		reg = <0x51>;
		#clock-cells = <0>;
		clock-frequency = <32768>;
		clock-output-names = "hym8563";
		pinctrl-names = "default";
		pinctrl-0 = <&hym8563_int>;
		interrupt-parent = <&gpio0>;
		interrupts = <RK_PA0 IRQ_TYPE_LEVEL_LOW>;
		wakeup-source;
	};
};

&iep {
	status = "okay";
};

&iep_mmu {
	status = "okay";
};

&jpegd {
	status = "okay";
};

&jpege {
	status = "okay";
};

&jpeg_mmu {
	status = "okay";
};

&mpp_srv {
	status = "okay";
};

&pwm1_6ch_1 {
	status = "okay";
	pinctrl-0 = <&pwm1m0_ch1>;
};

&rga2_core0 {
	status = "okay";
};

&rga2_core0_mmu {
	status = "okay";
};

&rga2_core1 {
	status = "okay";
};

&rga2_core1_mmu {
	status = "okay";
};

&rknpu {
	rknpu-supply = <&vdd_npu_s0>;
	status = "okay";
};

&rknpu_mmu {
	status = "okay";
};

&rkvenc_ccu {
	status = "okay";
};

&rkvenc0 {
	status = "okay";
};

&rkvenc0_mmu {
	status = "okay";
};

&rkvenc1 {
	status = "okay";
};

&rkvenc1_mmu {
	status = "okay";

};

&rkvdec {
	status = "okay";
};

&rkvdec_mmu {
	status = "okay";
};

&rockchip_suspend {
	status = "okay";
	rockchip,sleep-debug-en = <1>;

	rockchip,sleep-io-ret-config = <
		(0
		| RKPM_VCCIO3_RET_EN
		)
	>;

	rockchip,regulator-on-before-mem = <&vdd_npu_s0>;
};

&route_dsi {
	status = "okay";
};

&sai6 {
	status = "okay";
};

&saradc {
	status = "okay";
	vref-supply = <&vcca_1v8_s0>;
};

&sdhci {
	bus-width = <8>;
	no-sdio;
	no-sd;
	non-removable;
	max-frequency = <200000000>;
	mmc-hs400-1_8v;
	mmc-hs400-enhanced-strobe;
	full-pwr-cycle-in-suspend;
	status = "okay";
};

&sdmmc {
	max-frequency = <150000000>;
	//pinctrl-0 = <&sdmmc0_clk &sdmmc0_cmd &sdmmc0_det &sdmmc0_bus4 &sdmmc0_pwren>;
	pinctrl-0 = <&sdmmc0_clk &sdmmc0_cmd &sdmmc0_bus4 &sdmmc0_det>;
	pinctrl-names = "default";
	//no-sdio;
	//no-mmc;
	bus-width = <4>;
	//cap-mmc-highspeed;
	cap-sd-highspeed;
	disable-wp;
	//sd-uhs-sdr104;
	vqmmc-supply = <&vccio_sd_s0>;
	vmmc-supply = <&vcc_3v3_s0>;
	//vmmc-supply = <&vcc_sdcard_pwr>;
	//broken-cd;
	status = "okay";
};

&tsadc {
	status = "okay";
};

&u2phy0 {
	status = "okay";
};

&u2phy1 {
	status = "okay";
};

&u2phy0_otg {
	status = "okay";
};

&u2phy1_otg {
	status = "okay";
};

/*
&uart4 {
	status = "okay";
	pinctrl-names = "default";
	pinctrl-0 = <&uart4m1_xfer &uart4m1_ctsn>;
};
*/

&uart7 {
	status = "okay";
	pinctrl-names = "default";
	pinctrl-0 = <&uart7m0_xfer &uart7m0_ctsn>;
};

&ufs {
	reset-gpios = <&gpio4 RK_PD0 GPIO_ACTIVE_HIGH>;
};

&usbdp_phy {
	status = "okay";
};

&usbdp_phy_dp {
	status = "okay";
};

&usbdp_phy_u3 {
	status = "okay";
};

&usb_drd0_dwc3 {
	status = "okay";
};

&vdpp {
	status = "okay";
};

&vop {
	status = "okay";
	vop-supply = <&vdd_logic_s0>;
};

&vop_mmu {
	status = "okay";
};

&vp2 {
	assigned-clocks = <&cru DCLK_VP2_SRC>;
	assigned-clock-parents = <&cru PLL_VPLL>;
};
